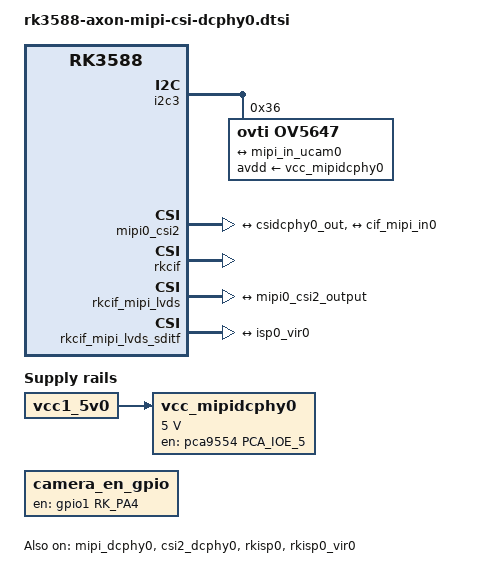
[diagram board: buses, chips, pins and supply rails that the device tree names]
// SPDX-License-Identifier: (GPL-2.0+ OR MIT)
/*
 * Copyright (C) 2023 Vicharak India
 */

/ {
	compatible = "vicharak,rk3588-axon", "rockchip,rk3588";

	vcc_mipidcphy0: vcc-mipi-dcphy0 {
		compatible = "regulator-fixed";
		regulator-name = "vcc_mipidcphy0";
		regulator-min-microvolt = <5000000>;
		regulator-max-microvolt = <5000000>;
		gpio = <&pca9554 PCA_IOE_5 GPIO_ACTIVE_HIGH>;
		regulator-always-on;
		regulator-boot-on;
		enable-active-high;
		vin-supply = <&vcc1_5v0>;
	};

	camera_en_gpio: camera-en-gpio {
		status = "okay";
		compatible = "regulator-fixed";
		regulator-name = "camera_en_gpio";
		regulator-always-on;
		regulator-boot-on;
		enable-active-high;
		gpio = <&gpio1 RK_PA4 GPIO_ACTIVE_HIGH>;
		pinctrl-names = "default";
		pinctrl-0 = <&cam_en_gpio>;
	};
};

&i2c3 {
	ov5647: ov5647@36 {
		status = "okay";
		compatible = "ovti,ov5647";
		reg = <0x36>;

		clocks = <&cru CLK_MIPI_CAMARAOUT_M1>;
		clock-names = "xvclk";
		pinctrl-names = "default";
		pinctrl-0 = <&mipim0_camera1_clk>;
		power-domains = <&power RK3588_PD_VI>;
		avdd-supply = <&vcc_mipidcphy0>;

		rockchip,camera-module-index = <1>;
		rockchip,camera-module-facing = "front";
		rockchip,camera-module-name = "ov5647";
		rockchip,camera-module-lens-name = "default";

		port {
			ov5647_out0: endpoint {
				remote-endpoint = <&mipi_in_ucam0>;
				data-lanes = <1 2>;
			};
		};
	};
};

// MIPI CSI: {{{
&mipi_dcphy0 {
	status = "okay";
};

&csi2_dcphy0 {
	status = "okay";

	ports {
		#address-cells = <1>;
		#size-cells = <0>;

		port@0 {
			reg = <0>;
			#address-cells = <1>;
			#size-cells = <0>;

			mipi_in_ucam0: endpoint@1 {
				reg = <1>;
				remote-endpoint = <&ov5647_out0>;
				data-lanes = <1 2>;
			};
		};

		port@1 {
			reg = <1>;
			#address-cells = <1>;
			#size-cells = <0>;

			csidcphy0_out: endpoint@0 {
				reg = <0>;
				remote-endpoint = <&mipi0_csi2_input>;
			};
		};
	};
};

&mipi0_csi2 {
	status = "okay";

	ports {
		#address-cells = <1>;
		#size-cells = <0>;

		port@0 {
			reg = <0>;
			#address-cells = <1>;
			#size-cells = <0>;

			mipi0_csi2_input: endpoint@1 {
				reg = <1>;
				remote-endpoint = <&csidcphy0_out>;
			};
		};

		port@1 {
			reg = <1>;
			#address-cells = <1>;
			#size-cells = <0>;

			mipi0_csi2_output: endpoint@0 {
				reg = <0>;
				remote-endpoint = <&cif_mipi_in0>;
			};
		};
	};
};

&rkcif {
	status = "okay";
};

&rkcif_mipi_lvds {
	status = "okay";

	port {
		cif_mipi_in0: endpoint {
			remote-endpoint = <&mipi0_csi2_output>;
		};
	};
};

&rkcif_mipi_lvds_sditf {
	status = "okay";

	port {
		mipi_lvds_sditf: endpoint {
			remote-endpoint = <&isp0_vir0>;
		};
	};
};

&rkcif_mmu {
	status = "okay";
};
// }}}

// ISP: {{{
&rkisp0 {
	status = "okay";
};

&isp0_mmu {
	status = "okay";
};

&rkisp0_vir0 {
	status = "okay";

	port {
		#address-cells = <1>;
		#size-cells = <0>;

		isp0_vir0: endpoint@0 {
			reg = <0>;
			remote-endpoint = <&mipi_lvds_sditf>;
		};
	};
};
// }}}

&pinctrl {
	camera {
		cam_en_gpio: cam-en-gpio {
			rockchip,pins = <1 RK_PA4 RK_FUNC_GPIO &pcfg_pull_none>;
		};
	};
};
